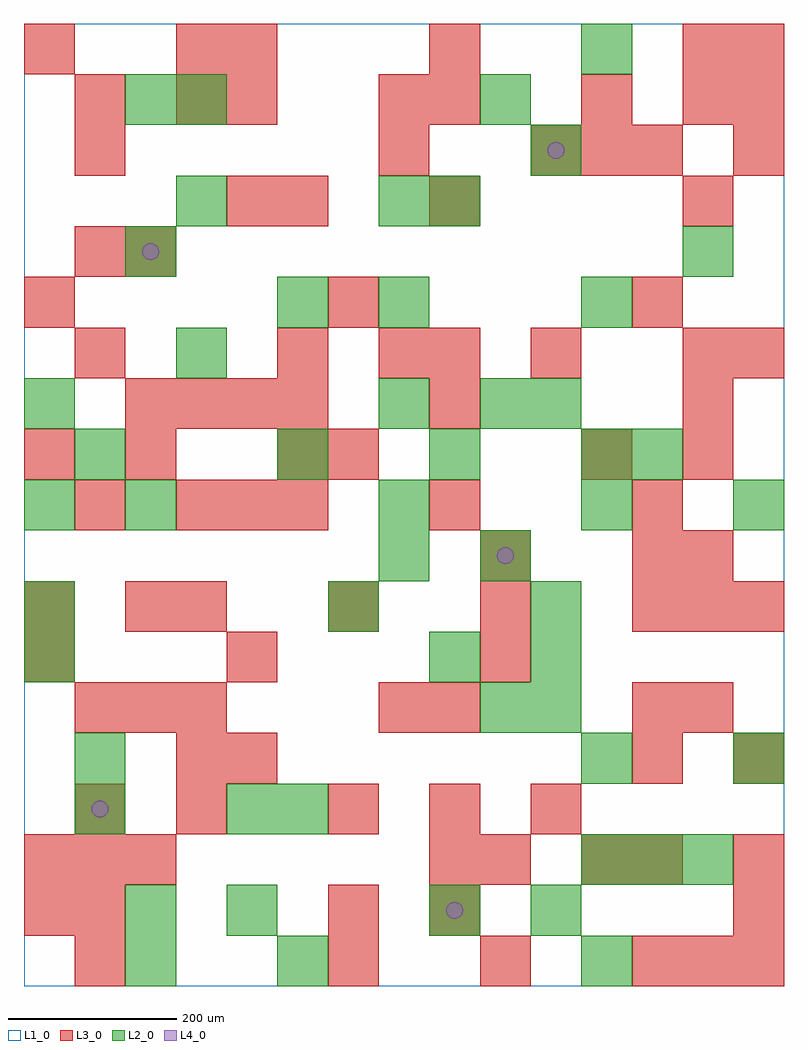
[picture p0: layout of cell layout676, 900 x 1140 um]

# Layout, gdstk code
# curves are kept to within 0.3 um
import gdstk
lib = gdstk.Library(unit=1e-6, precision=1e-09)
def R(c, l, rs):  # rectangles x0, y0, x1, y1
    for r in rs: c.add(gdstk.rectangle(r[:2], r[2:], *l))
def A(c, l, x, y, w, h, nx, ny, dx, dy):  # array of equal rectangles
    R(c, l, [(x+i*dx, y+j*dy, x+i*dx+w, y+j*dy+h) for i in range(nx) for j in range(ny)])
def P(c, l, *ps):  # polygons
    for p in ps: c.add(gdstk.Polygon(p, *l))
L1_0 = (1, 0)
L2_0 = (2, 0)
L3_0 = (3, 0)
L4_0 = (4, 0)

layout676 = lib.new_cell('layout676')
R(layout676, L1_0, [(0,0,900,1140)])
A(layout676, L2_0, 660, 120, 60, 60, 3, 1, 60, 0)
A(layout676, L2_0, 540, 300, 60, 60, 1, 3, 0, 180)
A(layout676, L2_0, 600, 300, 60, 60, 1, 3, 0, 60)
A(layout676, L2_0, 0, 420, 60, 60, 1, 3, 0, 120)
A(layout676, L2_0, 420, 540, 60, 60, 1, 4, 0, 120)
A(layout676, L2_0, 300, 600, 60, 60, 3, 1, 180, 0)
R(layout676, L2_0, [(120,0,180,60), (300,0,360,60), (660,0,720,60), (120,60,180,120), (240,60,300,120), (480,60,540,120), (600,60,660,120), (60,180,120,240), (240,180,300,240), (300,180,360,240), (60,240,120,300), (660,240,720,300), (840,240,900,300), (0,360,60,420), (480,360,540,420), (360,420,420,480), (420,480,480,540), (120,540,180,600), (660,540,720,600), (840,540,900,600), (60,600,120,660), (720,600,780,660), (600,660,660,720), (180,720,240,780), (300,780,360,840), (660,780,720,840), (120,840,180,900), (780,840,840,900), (180,900,240,960), (480,900,540,960), (600,960,660,1020), (120,1020,180,1080), (180,1020,240,1080), (540,1020,600,1080), (660,1080,720,1140)])
A(layout676, L3_0, 360, 0, 60, 60, 3, 1, 180, 0)
A(layout676, L3_0, 840, 0, 60, 60, 1, 3, 0, 60)
A(layout676, L3_0, 0, 120, 60, 60, 3, 1, 60, 0)
A(layout676, L3_0, 360, 180, 60, 60, 3, 1, 120, 0)
A(layout676, L3_0, 60, 300, 60, 60, 3, 1, 60, 0)
A(layout676, L3_0, 180, 420, 60, 60, 4, 1, 180, 0)
A(layout676, L3_0, 180, 540, 60, 60, 3, 1, 60, 0)
A(layout676, L3_0, 780, 600, 60, 60, 1, 3, 0, 60)
A(layout676, L3_0, 120, 660, 60, 60, 4, 1, 60, 0)
A(layout676, L3_0, 60, 720, 60, 60, 1, 3, 0, 120)
A(layout676, L3_0, 0, 780, 60, 60, 3, 1, 360, 0)
A(layout676, L3_0, 600, 960, 60, 60, 3, 1, 60, 0)
A(layout676, L3_0, 840, 960, 60, 60, 1, 3, 0, 60)
R(layout676, L3_0, [(60,0,120,60), (780,0,840,60), (0,60,60,120), (60,60,120,120), (360,60,420,120), (480,60,540,120), (480,120,540,180), (540,120,600,180), (660,120,720,180), (720,120,780,180), (60,180,120,240), (180,180,240,240), (180,240,240,300), (240,240,300,300), (720,240,780,300), (840,240,900,300), (420,300,480,360), (480,300,540,360), (720,300,780,360), (780,300,840,360), (0,360,60,420), (240,360,300,420), (540,360,600,420), (0,420,60,480), (120,420,180,480), (780,420,840,480), (840,420,900,480), (540,480,600,540), (720,480,780,540), (780,480,840,540), (60,540,120,600), (480,540,540,600), (720,540,780,600), (0,600,60,660), (120,600,180,660), (300,600,360,660), (360,600,420,660), (660,600,720,660), (480,660,540,720), (300,720,360,780), (420,720,480,780), (480,720,540,780), (600,720,660,780), (840,720,900,780), (120,840,180,900), (240,900,300,960), (300,900,360,960), (480,900,540,960), (780,900,840,960), (420,960,480,1020), (60,1020,120,1080), (180,1020,240,1080), (240,1020,300,1080), (420,1020,480,1080), (480,1020,540,1080), (660,1020,720,1080), (780,1020,840,1080), (0,1080,60,1140), (180,1080,240,1140), (240,1080,300,1140), (480,1080,540,1140), (780,1080,840,1140)])
P(layout676, L4_0, [(100,210),(99.239,213.827),(97.071,217.071),(93.827,219.239),(90,220),(86.173,219.239),(82.929,217.071),(80.761,213.827),(80,210),(80.761,206.173),(82.929,202.929),(86.173,200.761),(90,200),(93.827,200.761),(97.071,202.929),(99.239,206.173)],
  [(160,870),(159.239,873.827),(157.071,877.071),(153.827,879.239),(150,880),(146.173,879.239),(142.929,877.071),(140.761,873.827),(140,870),(140.761,866.173),(142.929,862.929),(146.173,860.761),(150,860),(153.827,860.761),(157.071,862.929),(159.239,866.173)],
  [(520,90),(519.239,93.827),(517.071,97.071),(513.827,99.239),(510,100),(506.173,99.239),(502.929,97.071),(500.761,93.827),(500,90),(500.761,86.173),(502.929,82.929),(506.173,80.761),(510,80),(513.827,80.761),(517.071,82.929),(519.239,86.173)],
  [(580,510),(579.239,513.827),(577.071,517.071),(573.827,519.239),(570,520),(566.173,519.239),(562.929,517.071),(560.761,513.827),(560,510),(560.761,506.173),(562.929,502.929),(566.173,500.761),(570,500),(573.827,500.761),(577.071,502.929),(579.239,506.173)],
  [(640,990),(639.239,993.827),(637.071,997.071),(633.827,999.239),(630,1000),(626.173,999.239),(622.929,997.071),(620.761,993.827),(620,990),(620.761,986.173),(622.929,982.929),(626.173,980.761),(630,980),(633.827,980.761),(637.071,982.929),(639.239,986.173)])

lib.write_gds('layout676.gds')
